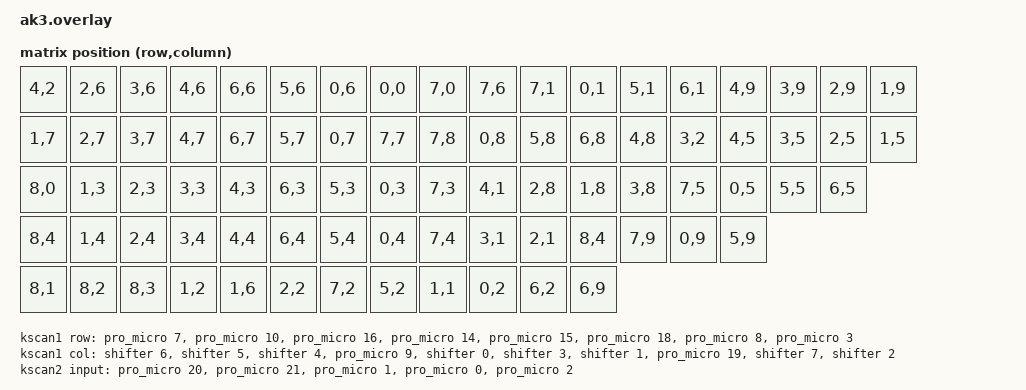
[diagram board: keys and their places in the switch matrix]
/*
 * Copyright (c) 2020 The ZMK Contributors
 *
 * SPDX-License-Identifier: MIT
 */

#include <dt-bindings/zmk/matrix_transform.h>

#ifndef LAYOUT
    #define LAYOUT 1
#endif

#define QWERTY 1
#define ENGRAMMER_BASE 2
#define ENGRAMMER_SHIFTED 3

#define KEYS_L 0 1 2 3 4 5 18 19 20 21 22 23 36 37 38 39 40 41 53 54 55 56 57 58  // left-hand keys
#define KEYS_R 6 7 8 9 10 11 12 13 24 25 26 27 28 29 30 31 42 43 44 45 46 47 48 59 60 61 62 63 64 // right-hand keys
#define THUMBS 68 69 70 71 72 73 74 75 76 // thumb keys
#define NP 14 15 16 17 32 33 34 35 49 50 51 52 65 66 67 77 78 79 // number pad keys

#define HM_TAPPING_TERM 1000
#define HM_TAPPING_TERM_FAST 200
#define HM_TAPPING_TERM_QT 175

sr: &pro_micro_spi {
    compatible = "nordic,nrf-spim";
    pinctrl-0 = <&pro_micro_spi_default>;
    pinctrl-1 = <&pro_micro_spi_sleep>;
    pinctrl-names = "default", "sleep";
	status = "okay";
	cs-gpios = <&pro_micro 6 GPIO_ACTIVE_LOW>;

	shifter: 595@0 {
		compatible = "zmk,gpio-595";
		status = "okay";
		gpio-controller;
		spi-max-frequency = <200000>;
		reg = <0>;
		label = "4HC595";
		#gpio-cells = <2>;
		ngpios = <8>;
    };
};

/ {
	chosen {
		zmk,kscan = &kscan0;
		zmk,matrix_transform = &default_transform;
	};

	default_transform: keymap_transform_0 {
		compatible = "zmk,matrix-transform";
		columns = <18>;
		rows = <5>;
		map = <
        //	M0487 Apple Standard Keyboard II
        RC(4,2) RC(2,6) RC(3,6) RC(4,6) RC(6,6) RC(5,6) RC(0,6) RC(0,0) RC(7,0) RC(7,6) RC(7,1) RC(0,1) RC(5,1) RC(6,1) RC(4,9) RC(3,9) RC(2,9) RC(1,9) 
        RC(1,7) RC(2,7) RC(3,7) RC(4,7) RC(6,7) RC(5,7) RC(0,7) RC(7,7) RC(7,8) RC(0,8) RC(5,8) RC(6,8) RC(4,8) RC(3,2) RC(4,5) RC(3,5) RC(2,5) RC(1,5) 
        RC(8,0) RC(1,3) RC(2,3) RC(3,3) RC(4,3) RC(6,3) RC(5,3) RC(0,3) RC(7,3) RC(4,1) RC(2,8) RC(1,8) RC(3,8) RC(7,5) RC(0,5) RC(5,5) RC(6,5) 
        RC(8,4) RC(1,4) RC(2,4) RC(3,4) RC(4,4) RC(6,4) RC(5,4) RC(0,4) RC(7,4) RC(3,1) RC(2,1) RC(8,4) RC(7,9) RC(0,9) RC(5,9) 
        RC(8,1) RC(8,2) RC(8,3) RC(1,2) RC(1,6) RC(2,2) RC(7,2) RC(5,2) RC(1,1) RC(0,2) RC(6,2) RC(6,9) 
		>;
	};

    kscan0: kscan_composite {
        compatible = "zmk,kscan-composite";
        label = "KSCAN0";
        rows = <9>;
        columns = <10>;

        // Include the matrix driver
        matrix {
            kscan = <&kscan1>;
        };

        // Include the direct GPIO driver...
        direct {
            kscan = <&kscan2>;
            row-offset = <8>;
        };
    };

    kscan1: kscan_matrix {
        compatible = "zmk,kscan-gpio-matrix";
        label = "KSCAN";
        diode-direction = "col2row";
        // Pins 7,13,14,16,19,20,21,22,23,24 are GPIO Columns
        col-gpios
            = <&shifter 6 GPIO_ACTIVE_LOW> 
            , <&shifter 5 GPIO_ACTIVE_LOW>
            , <&shifter 4 GPIO_ACTIVE_LOW>
            , <&pro_micro 9 GPIO_ACTIVE_LOW>
            , <&shifter 0 GPIO_ACTIVE_LOW>
            , <&shifter 3 GPIO_ACTIVE_LOW> 
            , <&shifter 1 GPIO_ACTIVE_LOW>
            , <&pro_micro 19 GPIO_ACTIVE_LOW>
            , <&shifter 7 GPIO_ACTIVE_LOW>
            , <&shifter 2 GPIO_ACTIVE_LOW>
            ;
        // Pins 1,2,3,4,5,15,17,18 are GPIO Rows active-low, pull high
        row-gpios
            = <&pro_micro 7 (GPIO_ACTIVE_LOW | GPIO_PULL_UP)>
            , <&pro_micro 10 (GPIO_ACTIVE_LOW | GPIO_PULL_UP)>
            , <&pro_micro 16 (GPIO_ACTIVE_LOW | GPIO_PULL_UP)>
            , <&pro_micro 14 (GPIO_ACTIVE_LOW | GPIO_PULL_UP)>
            , <&pro_micro 15 (GPIO_ACTIVE_LOW | GPIO_PULL_UP)>
            , <&pro_micro 18 (GPIO_ACTIVE_LOW | GPIO_PULL_UP)>
            , <&pro_micro 8 (GPIO_ACTIVE_LOW | GPIO_PULL_UP)>
            , <&pro_micro 3 (GPIO_ACTIVE_LOW | GPIO_PULL_UP)>
            ;
    };

    kscan2: kscan_direct {
        compatible = "zmk,kscan-gpio-direct";
		label = "KSCAN";
        // Pins 8,9,10,11,12 are GPIO-direct pins active-low, pull high
		input-gpios
		= <&pro_micro 20 (GPIO_ACTIVE_LOW | GPIO_PULL_UP)>
		, <&pro_micro 21 (GPIO_ACTIVE_LOW | GPIO_PULL_UP)>
		, <&pro_micro 1 (GPIO_ACTIVE_LOW | GPIO_PULL_UP)>
		, <&pro_micro 0 (GPIO_ACTIVE_LOW | GPIO_PULL_UP)>
		, <&pro_micro 2 (GPIO_ACTIVE_LOW | GPIO_PULL_UP)>
		;
    };	
};
